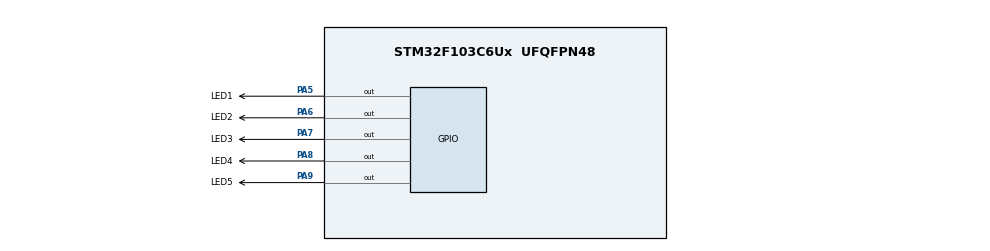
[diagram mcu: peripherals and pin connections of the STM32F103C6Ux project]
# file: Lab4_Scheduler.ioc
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Mcu.Family=STM32F1
Mcu.Name=STM32F103C6Ux
Mcu.Package=UFQFPN48
NVIC.PriorityGroup=NVIC_PRIORITYGROUP_4
NVIC.TIM2_IRQn=true\:0\:0\:false\:false\:true\:true\:true
PA5.GPIO_Label=LED1
PA5.Signal=GPIO_Output
PA6.GPIO_Label=LED2
PA6.Signal=GPIO_Output
PA7.GPIO_Label=LED3
PA7.Signal=GPIO_Output
PA8.GPIO_Label=LED4
PA8.Signal=GPIO_Output
PA9.GPIO_Label=LED5
PA9.Signal=GPIO_Output
ProjectManager.HeapSize=0x200
ProjectManager.StackSize=0x400
ProjectManager.TargetToolchain=STM32CubeIDE
RCC.APB1Freq_Value=8000000
RCC.APB2Freq_Value=8000000
TIM2.Period=9
TIM2.Prescaler=7999
VP_SYS_VS_ND.Mode=No_Debug
VP_TIM2_VS_ClockSourceINT.Mode=Internal
board=custom

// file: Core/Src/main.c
/* USER CODE BEGIN Header */
/**
  ******************************************************************************
  * @file           : main.c
  * @brief          : Main program body
  ******************************************************************************
  * @attention
  *
  * <h2><center>&copy; Copyright (c) 2023 STMicroelectronics.
  * All rights reserved.</center></h2>
  *
  * This software component is licensed by ST under BSD 3-Clause license,
  * the "License"; You may not use this file except in compliance with the
  * License. You may obtain a copy of the License at:
  *                        opensource.org/licenses/BSD-3-Clause
  *
  ******************************************************************************
  */
/* USER CODE END Header */
#include "main.h"

TIM_HandleTypeDef htim2;

void SystemClock_Config(void);
static void MX_GPIO_Init(void);
static void MX_TIM2_Init(void);

/* USER CODE BEGIN 0 */
void toggelLed1(){
	HAL_GPIO_TogglePin(LED1_GPIO_Port, LED1_Pin);
}
void toggelLed2(){
	HAL_GPIO_TogglePin(LED2_GPIO_Port, LED2_Pin);
}
void toggelLed3(){
	HAL_GPIO_TogglePin(LED3_GPIO_Port, LED3_Pin);
}
void toggelLed4(){
	HAL_GPIO_TogglePin(LED4_GPIO_Port, LED4_Pin);
}
void toggelLed5(){
	HAL_GPIO_TogglePin(LED5_GPIO_Port, LED5_Pin);
}
/* USER CODE END 0 */

int main(void)
{

  /* MCU Configuration--------------------------------------------------------*/

  /* Reset of all peripherals, Initializes the Flash interface and the Systick. */
  HAL_Init();

  /* Configure the system clock */
  SystemClock_Config();

  /* Initialize all configured peripherals */
  MX_GPIO_Init();
  MX_TIM2_Init();
  /* USER CODE BEGIN 2 */
  HAL_TIM_Base_Start_IT (& htim2 ) ;
  /* USER CODE END 2 */

  /* Infinite loop */
  /* USER CODE BEGIN WHILE */
  SCH_Init(); //khởi tạo danh sách
  SCH_Add_Task(toggelLed1, 500, 750);
  SCH_Add_Task(toggelLed2, 1000, 1000);
  SCH_Add_Task(toggelLed3, 3000, 1500);
  SCH_Add_Task(toggelLed4, 4000, 2000);
  SCH_Add_Task(toggelLed5, 0, 2500);
  while (1)
  {
    /* USER CODE END WHILE */
	  SCH_Dispatch_Tasks();
  }
}

void SystemClock_Config(void)
{
  RCC_OscInitTypeDef RCC_OscInitStruct = {0};
  RCC_ClkInitTypeDef RCC_ClkInitStruct = {0};

  /** Initializes the RCC Oscillators according to the specified parameters
  * in the RCC_OscInitTypeDef structure.
  */
  RCC_OscInitStruct.OscillatorType = RCC_OSCILLATORTYPE_HSI;
  RCC_OscInitStruct.HSIState = RCC_HSI_ON;
  RCC_OscInitStruct.HSICalibrationValue = RCC_HSICALIBRATION_DEFAULT;
  RCC_OscInitStruct.PLL.PLLState = RCC_PLL_NONE;
  if (HAL_RCC_OscConfig(&RCC_OscInitStruct) != HAL_OK)
  {
    Error_Handler();
  }
  /** Initializes the CPU, AHB and APB buses clocks
  */
  RCC_ClkInitStruct.ClockType = RCC_CLOCKTYPE_HCLK|RCC_CLOCKTYPE_SYSCLK
                              |RCC_CLOCKTYPE_PCLK1|RCC_CLOCKTYPE_PCLK2;
  RCC_ClkInitStruct.SYSCLKSource = RCC_SYSCLKSOURCE_HSI;
  RCC_ClkInitStruct.AHBCLKDivider = RCC_SYSCLK_DIV1;
  RCC_ClkInitStruct.APB1CLKDivider = RCC_HCLK_DIV1;
  RCC_ClkInitStruct.APB2CLKDivider = RCC_HCLK_DIV1;

  if (HAL_RCC_ClockConfig(&RCC_ClkInitStruct, FLASH_LATENCY_0) != HAL_OK)
  {
    Error_Handler();
  }
}

static void MX_TIM2_Init(void)
{

  TIM_ClockConfigTypeDef sClockSourceConfig = {0};
  TIM_MasterConfigTypeDef sMasterConfig = {0};

  htim2.Instance = TIM2;
  htim2.Init.Prescaler = 7999;
  htim2.Init.CounterMode = TIM_COUNTERMODE_UP;
  htim2.Init.Period = 9;
  htim2.Init.ClockDivision = TIM_CLOCKDIVISION_DIV1;
  htim2.Init.AutoReloadPreload = TIM_AUTORELOAD_PRELOAD_DISABLE;
  if (HAL_TIM_Base_Init(&htim2) != HAL_OK)
  {
    Error_Handler();
  }
  sClockSourceConfig.ClockSource = TIM_CLOCKSOURCE_INTERNAL;
  if (HAL_TIM_ConfigClockSource(&htim2, &sClockSourceConfig) != HAL_OK)
  {
    Error_Handler();
  }
  sMasterConfig.MasterOutputTrigger = TIM_TRGO_RESET;
  sMasterConfig.MasterSlaveMode = TIM_MASTERSLAVEMODE_DISABLE;
  if (HAL_TIMEx_MasterConfigSynchronization(&htim2, &sMasterConfig) != HAL_OK)
  {
    Error_Handler();
  }

}

static void MX_GPIO_Init(void)
{
  GPIO_InitTypeDef GPIO_InitStruct = {0};

  /* GPIO Ports Clock Enable */
  __HAL_RCC_GPIOA_CLK_ENABLE();

  /*Configure GPIO pin Output Level */
  HAL_GPIO_WritePin(GPIOA, LED1_Pin|LED2_Pin|LED3_Pin|LED4_Pin
                          |LED5_Pin, GPIO_PIN_RESET);

  /*Configure GPIO pins : LED1_Pin LED2_Pin LED3_Pin LED4_Pin
                           LED5_Pin */
  GPIO_InitStruct.Pin = LED1_Pin|LED2_Pin|LED3_Pin|LED4_Pin
                          |LED5_Pin;
  GPIO_InitStruct.Mode = GPIO_MODE_OUTPUT_PP;
  GPIO_InitStruct.Pull = GPIO_NOPULL;
  GPIO_InitStruct.Speed = GPIO_SPEED_FREQ_LOW;
  HAL_GPIO_Init(GPIOA, &GPIO_InitStruct);

}

/* USER CODE BEGIN 4 */
void HAL_TIM_PeriodElapsedCallback ( TIM_HandleTypeDef * htim ){
	SCH_Update();
}
/* USER CODE END 4 */

void Error_Handler(void)
{
  __disable_irq();
  while (1)
  {
  }
}

/************************ (C) COPYRIGHT STMicroelectronics *****END OF FILE****/
